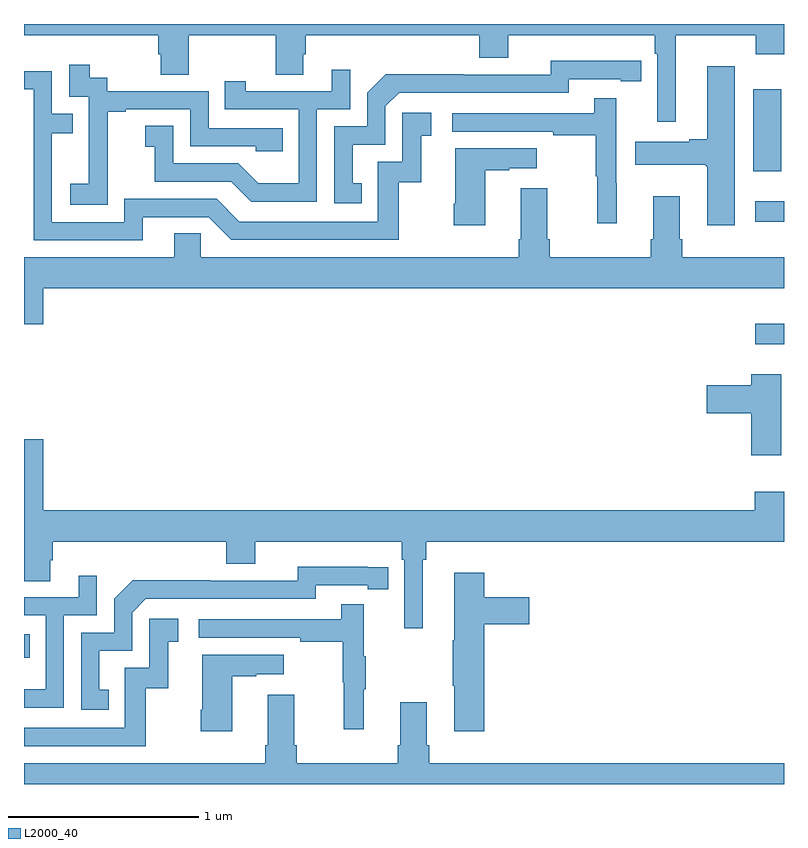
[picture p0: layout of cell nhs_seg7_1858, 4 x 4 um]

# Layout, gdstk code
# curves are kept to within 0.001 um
import gdstk
lib = gdstk.Library(unit=1e-6, precision=1e-09)
def R(c, l, rs):  # rectangles x0, y0, x1, y1
    for r in rs: c.add(gdstk.rectangle(r[:2], r[2:], *l))
def P(c, l, *ps):  # polygons
    for p in ps: c.add(gdstk.Polygon(p, *l))
L2000_40 = (2000, 40)

nhs_seg7_1858 = lib.new_cell('nhs_seg7_1858')
R(nhs_seg7_1858, L2000_40, [(237,1006.665,237.029,1006.788), (240.849,1008.314,241,1008.422), (240.849,1008.959,241,1009.066), (240.839,1009.224,240.985,1009.657)])
P(nhs_seg7_1858, L2000_40, [(237,1009.94),(237.707,1009.94),(237.707,1009.842),(237.719,1009.842),(237.719,1009.732),(237.867,1009.732),(237.867,1009.94),(238.324,1009.94),(238.324,1009.732),(238.471,1009.732),(238.471,1009.842),(238.484,1009.842),(238.484,1009.94),(239.396,1009.94),(239.396,1009.823),(239.548,1009.823),(239.548,1009.94),(240.32,1009.94),(240.32,1009.844),(240.333,1009.844),(240.333,1009.485),(240.43,1009.485),(240.43,1009.94),(240.85,1009.94),(240.85,1009.841),(241,1009.841),(241,1010),(237,1010)],
  [(238.778,1009.161),(238.729,1009.161),(238.729,1009.365),(238.902,1009.365),(238.902,1009.566),(238.974,1009.638),(239.868,1009.638),(239.868,1009.71),(240.14,1009.71),(240.14,1009.698),(240.248,1009.698),(240.248,1009.806),(239.772,1009.807),(239.772,1009.734),(239.312,1009.734),(239.312,1009.736),(238.904,1009.736),(238.806,1009.638),(238.806,1009.461),(238.632,1009.461),(238.632,1009.056),(238.778,1009.056)],
  [(237.441,1009.255),(237.44,1009.255),(237.44,1009.539),(237.535,1009.539),(237.535,1009.551),(237.876,1009.551),(237.876,1009.356),(238.221,1009.356),(238.221,1009.329),(238.361,1009.329),(238.361,1009.452),(237.972,1009.452),(237.972,1009.647),(237.438,1009.647),(237.438,1009.716),(237.346,1009.716),(237.346,1009.786),(237.237,1009.786),(237.237,1009.617),(237.342,1009.617),(237.342,1009.388),(237.341,1009.388),(237.341,1009.159),(237.243,1009.159),(237.243,1009.049),(237.441,1009.049)],
  [(240.742,1009.777),(240.596,1009.777),(240.596,1009.394),(240.5,1009.394),(240.5,1009.381),(240.216,1009.381),(240.216,1009.259),(240.589,1009.259),(240.589,1009.252),(240.596,1009.252),(240.596,1008.942),(240.742,1008.942)],
  [(238.542,1009.551),(238.716,1009.551),(238.716,1009.759),(238.619,1009.759),(238.619,1009.647),(238.168,1009.647),(238.168,1009.699),(238.057,1009.699),(238.057,1009.551),(238.446,1009.551),(238.446,1009.162),(238.232,1009.162),(238.128,1009.266),(237.786,1009.266),(237.786,1009.465),(237.639,1009.465),(237.639,1009.355),(237.688,1009.355),(237.688,1009.17),(238.091,1009.17),(238.196,1009.065),(238.542,1009.065)],
  [(237.625,1008.984),(237.972,1008.984),(238.092,1008.864),(238.972,1008.864),(238.972,1009.167),(239.09,1009.167),(239.09,1009.413),(239.143,1009.413),(239.143,1009.534),(238.992,1009.534),(238.992,1009.275),(238.863,1009.275),(238.863,1008.96),(238.134,1008.96),(238.014,1009.08),(237.528,1009.08),(237.528,1008.957),(237.147,1008.957),(237.147,1009.426),(237.257,1009.426),(237.257,1009.527),(237.147,1009.527),(237.147,1009.752),(237,1009.752),(237,1009.656),(237.051,1009.656),(237.051,1008.861),(237.625,1008.861)],
  [(240.119,1009.163),(240.117,1009.163),(240.117,1009.609),(240.001,1009.609),(240.001,1009.53),(239.253,1009.53),(239.253,1009.434),(239.785,1009.434),(239.785,1009.414),(240.009,1009.414),(240.009,1009.2),(240.016,1009.2),(240.016,1008.951),(240.119,1008.951)],
  [(239.428,1009.231),(239.555,1009.231),(239.555,1009.241),(239.698,1009.241),(239.698,1009.345),(239.27,1009.345),(239.27,1009.054),(239.263,1009.054),(239.263,1008.942),(239.428,1008.942)],
  [(237.1,1008.608),(241,1008.608),(241,1008.772),(240.464,1008.772),(240.464,1008.868),(240.451,1008.868),(240.451,1009.093),(240.311,1009.093),(240.311,1008.868),(240.299,1008.868),(240.299,1008.772),(239.768,1008.772),(239.768,1008.868),(239.755,1008.868),(239.755,1009.135),(239.615,1009.135),(239.615,1008.868),(239.603,1008.868),(239.603,1008.772),(237.93,1008.772),(237.93,1008.899),(237.791,1008.899),(237.791,1008.772),(237,1008.772),(237,1008.42),(237.1,1008.42)],
  [(240.985,1008.157),(240.827,1008.157),(240.827,1008.098),(240.594,1008.098),(240.594,1007.951),(240.827,1007.951),(240.827,1007.73),(240.985,1007.73)],
  [(239.098,1007.18),(239.117,1007.18),(239.117,1007.276),(241,1007.276),(241,1007.539),(240.845,1007.539),(240.845,1007.44),(237.1,1007.44),(237.1,1007.815),(237,1007.815),(237,1007.068),(237.139,1007.068),(237.139,1007.178),(237.152,1007.178),(237.152,1007.276),(238.064,1007.276),(238.064,1007.159),(238.216,1007.159),(238.216,1007.276),(238.988,1007.276),(238.988,1007.18),(239.001,1007.18),(239.001,1006.821),(239.098,1006.821)],
  [(237.446,1006.497),(237.397,1006.497),(237.397,1006.701),(237.57,1006.701),(237.57,1006.902),(237.642,1006.974),(238.536,1006.974),(238.536,1007.046),(238.808,1007.046),(238.808,1007.026),(238.916,1007.026),(238.916,1007.142),(238.44,1007.143),(238.44,1007.07),(237.98,1007.07),(237.98,1007.072),(237.572,1007.072),(237.474,1006.974),(237.474,1006.797),(237.3,1006.797),(237.3,1006.392),(237.446,1006.392)],
  [(239.423,1006.841),(239.659,1006.841),(239.659,1006.983),(239.423,1006.983),(239.423,1007.113),(239.264,1007.113),(239.264,1006.757),(239.257,1006.757),(239.257,1006.516),(239.264,1006.516),(239.264,1006.278),(239.423,1006.278)],
  [(237.21,1006.887),(237.384,1006.887),(237.384,1007.095),(237.287,1007.095),(237.287,1006.983),(237,1006.983),(237,1006.887),(237.114,1006.887),(237.114,1006.498),(237,1006.498),(237,1006.401),(237.21,1006.401)],
  [(238.787,1006.499),(238.798,1006.499),(238.798,1006.673),(238.787,1006.673),(238.787,1006.945),(238.669,1006.945),(238.669,1006.866),(237.921,1006.866),(237.921,1006.77),(238.453,1006.77),(238.453,1006.75),(238.677,1006.75),(238.677,1006.536),(238.684,1006.536),(238.684,1006.287),(238.787,1006.287)],
  [(237.64,1006.503),(237.758,1006.503),(237.758,1006.749),(237.811,1006.749),(237.811,1006.87),(237.66,1006.87),(237.66,1006.611),(237.531,1006.611),(237.531,1006.296),(237,1006.296),(237,1006.2),(237.64,1006.2)],
  [(238.096,1006.567),(238.223,1006.567),(238.223,1006.577),(238.366,1006.577),(238.366,1006.681),(237.938,1006.681),(237.938,1006.39),(237.931,1006.39),(237.931,1006.278),(238.096,1006.278)],
  [(241,1006.108),(239.132,1006.108),(239.132,1006.204),(239.119,1006.204),(239.119,1006.429),(238.979,1006.429),(238.979,1006.204),(238.967,1006.204),(238.967,1006.108),(238.436,1006.108),(238.436,1006.204),(238.423,1006.204),(238.423,1006.471),(238.283,1006.471),(238.283,1006.204),(238.271,1006.204),(238.271,1006.108),(237,1006.108),(237,1006),(241,1006)])

lib.write_gds('nhs_seg7_1858.gds')
